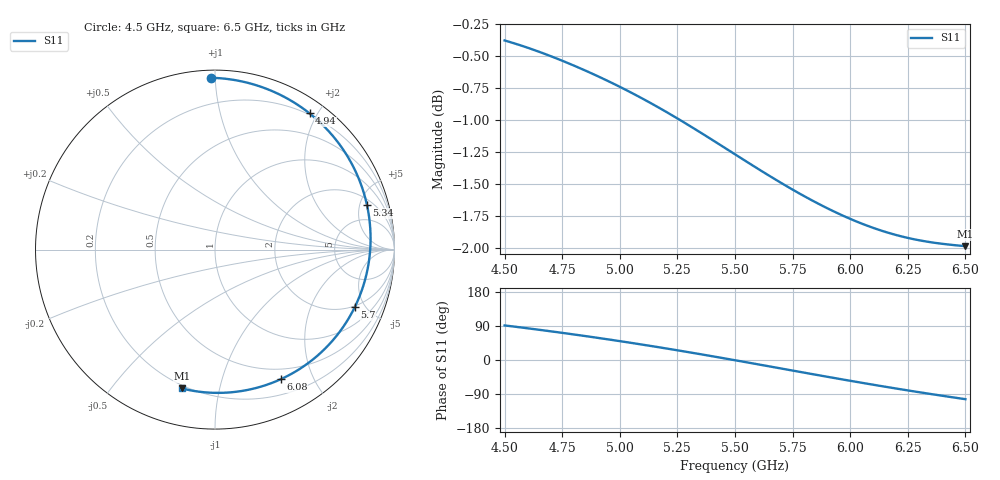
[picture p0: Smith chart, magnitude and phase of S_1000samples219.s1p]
! TOUCHSTONE file generated by CST MICROWAVE STUDIO
! Date and time: Thu Oct 27 10:12:23 2022
! Project name: L.cst
! Parameters = {Di=1.27; Epsilon_r=1.56; InnerDiameter=1.27; Length=2; Lf=10; Lg=60; OuterConductorThickness=0.2921; OuterDiameter=3.6; Wf=3; Wp=41.2; de=1.5; df=6.8; g=0.8; gx=3.38095; gy=3.12407; h=2.34; hf=1.524; px=10.2658; py=8.17326; w=9.7; wx=6.88482; wy=5.04919}
! Header version: 2018
! Port assignment regex: !\s*Touchstone port\s*([0-9]+)\s*=\s*(CST MWS port|CST DS port)\s*([0-9]+|Zmin|Zmax)\s*\(\"(.*)\"\)(\s*mode\s*([0-9]+))?.*
! Touchstone port assignment:
! Touchstone port 1 = CST MWS port 1 ("")
# GHz S DB R 50
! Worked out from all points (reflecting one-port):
!   101 points, 4.5 GHz to 6.5 GHz, reference 50 ohm
!   lowest |S11| = -2.0 dB at 6.5 GHz (marker M1), VSWR 8.77, Z = 9.18 - j38.7 ohm
!   phase of S11 starts at 91 deg and turns -195 deg over the sweep
!   S11 on the Smith chart (normalised r, x): 4.5 GHz: 0.04, +0.98; 4.94 GHz: 0.18, +1.90; 5.34 GHz: 2.60, +5.83; 5.7 GHz: 1.91, -4.22; 6.08 GHz: 0.37, -1.56; 6.5 GHz: 0.18, -0.77
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4.5  -0.38 91.3
4.58  -0.42 85.2
4.64  -0.46 80.5
4.76  -0.54 70.8
4.86  -0.62 62.3
4.94  -0.69 55.2
5  -0.74 49.8
5.06  -0.80 44.2
5.14  -0.87 36.5
5.2  -0.94 30.6
5.26  -1.00 24.6
5.34  -1.09 16.3
5.42  -1.18 7.9
5.5  -1.27 -0.6
5.54  -1.31 -4.9
5.6  -1.38 -11.5
5.7  -1.49 -22.4
5.76  -1.56 -29.0
5.82  -1.62 -35.5
5.88  -1.67 -42.0
5.94  -1.73 -48.5
6  -1.77 -54.8
6.08  -1.83 -63.2
6.16  -1.88 -71.3
6.26  -1.93 -81.2
6.32  -1.95 -86.9
6.38  -1.97 -92.6
6.5  -1.99 -103.4
